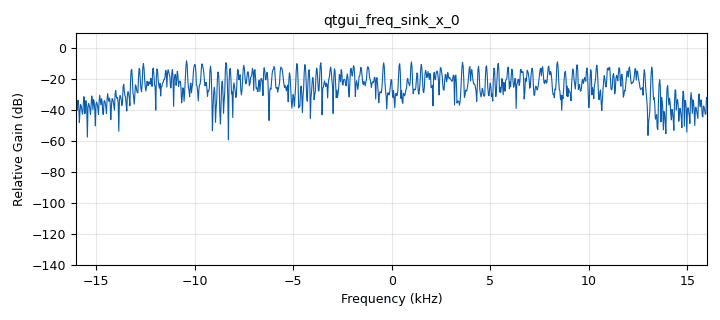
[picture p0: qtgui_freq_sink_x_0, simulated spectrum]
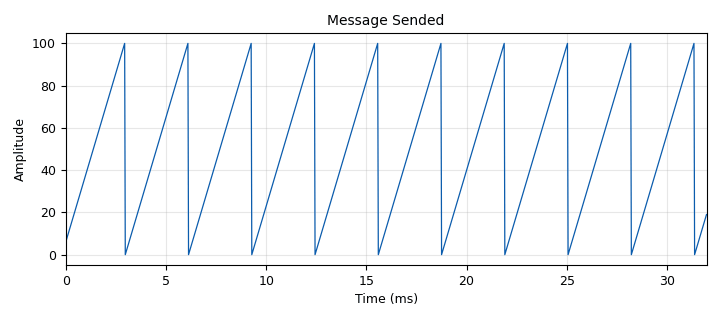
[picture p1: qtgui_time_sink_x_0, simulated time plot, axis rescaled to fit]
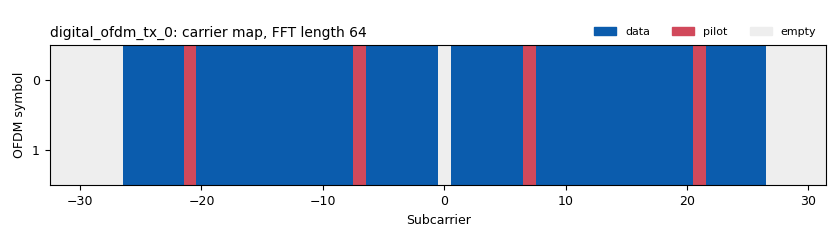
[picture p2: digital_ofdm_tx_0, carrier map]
<?xml version='1.0' encoding='utf-8'?>
<?grc format='1' created='3.7.10'?>
<flow_graph>
<block>
<key>options</key>
<param><key>id</key><value>ofdm_files_tx</value></param>
<param><key>author</key><value>Samuel Rey</value></param>
<param><key>category</key><value>Custom</value></param>
<param><key>description</key><value>Simple file transmisor using OFDM</value></param>
<param><key>generate_options</key><value>qt_gui</value></param>
<param><key>title</key><value>Files Transmisor With OFDM</value></param>
</block>
<block>
<key>variable</key>
<param><key>id</key><value>bw</value></param>
<param><key>value</key><value>samp_rate</value></param>
</block>
<block>
<key>variable</key>
<param><key>id</key><value>fft_len</value></param>
<param><key>value</key><value>64</value></param>
</block>
<block>
<key>variable_qtgui_range</key>
<param><key>id</key><value>freq</value></param>
<param><key>value</key><value>2412000</value></param>
<param><key>label</key><value>Frequency</value></param>
<param><key>orient</key><value>Qt.Horizontal</value></param>
<param><key>start</key><value>2412000</value></param>
<param><key>step</key><value>5000</value></param>
<param><key>stop</key><value>2472000</value></param>
</block>
<block>
<key>variable_qtgui_range</key>
<param><key>id</key><value>gain</value></param>
<param><key>value</key><value>30</value></param>
<param><key>label</key><value>Gain</value></param>
<param><key>orient</key><value>Qt.Horizontal</value></param>
<param><key>start</key><value>0</value></param>
<param><key>step</key><value>1</value></param>
<param><key>stop</key><value>100</value></param>
</block>
<block>
<key>variable</key>
<param><key>id</key><value>len_tag_key</value></param>
<param><key>value</key><value>"packet_len"</value></param>
</block>
<block>
<key>variable</key>
<param><key>id</key><value>occupied_carriers</value></param>
<param><key>value</key><value>(range(-26, -21) + range(-20, -7) + range(-6, 0) + range(1, 7) + range(8, 21) + range(22, 27),)</value></param>
</block>
<block>
<key>variable</key>
<param><key>id</key><value>packet_len</value></param>
<param><key>value</key><value>100</value></param>
</block>
<block>
<key>variable</key>
<param><key>id</key><value>pilot_carriers</value></param>
<param><key>value</key><value>((-21, -7, 7, 21,),)</value></param>
</block>
<block>
<key>variable</key>
<param><key>id</key><value>pilot_symbols</value></param>
<param><key>value</key><value>((1, 1, 1, -1,),)</value></param>
</block>
<block>
<key>variable</key>
<param><key>id</key><value>samp_rate</value></param>
<param><key>value</key><value>32000</value></param>
</block>
<block>
<key>variable</key>
<param><key>id</key><value>sync_word1</value></param>
<param><key>value</key><value>[0., 0., 0., 0., 0., 0., 0., 1.41421356, 0., -1.41421356, 0., 1.41421356, 0., -1.41421356, 0., -1.41421356, 0., -1.41421356, 0., 1.41421356, 0., -1.41421356, 0., 1.41421356, 0., -1.41421356, 0., -1.41421356, 0., -1.41421356, 0., -1.41421356, 0., 1.41421356, 0., -1.41421356, 0., 1.41421356, 0., 1.41421356, 0., 1.41421356, 0., -1.41421356, 0., 1.41421356, 0., 1.41421356, 0., 1.41421356, 0., -1.41421356, 0., 1.41421356, 0., 1.41421356, 0., 1.41421356, 0., 0., 0., 0., 0., 0.]</value></param>
</block>
<block>
<key>variable</key>
<param><key>id</key><value>sync_word2</value></param>
<param><key>value</key><value>[0, 0, 0, 0, 0, 0, -1, -1, -1, -1, 1, 1, -1, -1, -1, 1, -1, 1, 1, 1, 1, 1, -1, -1, -1, -1, -1, 1, -1, -1, 1, -1, 0, 1, -1, 1, 1, 1, -1, 1, 1, 1, -1, 1, 1, 1, 1, -1, 1, -1, -1, -1, 1, -1, 1, -1, -1, -1, -1, 0, 0, 0, 0, 0] </value></param>
</block>
<block>
<key>blocks_file_source</key>
<param><key>id</key><value>blocks_file_source_0</value></param>
<param><key>_enabled</key><value>0</value></param>
<param><key>file</key><value>/home/samuel/GNURadio/OFDM/prueba_tx.txt</value></param>
<param><key>type</key><value>byte</value></param>
<param><key>repeat</key><value>True</value></param>
</block>
<block>
<key>blocks_stream_to_tagged_stream</key>
<param><key>id</key><value>blocks_stream_to_tagged_stream_0</value></param>
<param><key>len_tag_key</key><value>len_tag_key</value></param>
<param><key>packet_len</key><value>packet_len</value></param>
<param><key>type</key><value>byte</value></param>
</block>
<block>
<key>blocks_uchar_to_float</key>
<param><key>id</key><value>blocks_uchar_to_float_0</value></param>
</block>
<block>
<key>blocks_vector_source_x</key>
<param><key>id</key><value>blocks_vector_source_x_0</value></param>
<param><key>type</key><value>byte</value></param>
<param><key>repeat</key><value>True</value></param>
<param><key>vector</key><value>range(101)</value></param>
</block>
<block>
<key>digital_ofdm_tx</key>
<param><key>id</key><value>digital_ofdm_tx_0</value></param>
<param><key>cp_len</key><value>fft_len/4</value></param>
<param><key>fft_len</key><value>fft_len</value></param>
<param><key>header_mod</key><value>"BPSK"</value></param>
<param><key>packet_len_key</key><value>len_tag_key</value></param>
<param><key>occupied_carriers</key><value>occupied_carriers</value></param>
<param><key>payload_mod</key><value>"BPSK"</value></param>
<param><key>pilot_carriers</key><value>pilot_carriers</value></param>
<param><key>pilot_symbols</key><value>pilot_symbols</value></param>
<param><key>rolloff</key><value>0</value></param>
<param><key>sync_word1</key><value>sync_word1</value></param>
<param><key>sync_word2</key><value>sync_word2</value></param>
</block>
<block>
<key>qtgui_freq_sink_x</key>
<param><key>id</key><value>qtgui_freq_sink_x_0</value></param>
<param><key>bw</key><value>samp_rate</value></param>
<param><key>fc</key><value>0</value></param>
<param><key>fftsize</key><value>1024</value></param>
<param><key>showports</key><value>True</value></param>
<param><key>type</key><value>complex</value></param>
<param><key>wintype</key><value>firdes.WIN_BLACKMAN_hARRIS</value></param>
</block>
<block>
<key>qtgui_time_sink_x</key>
<param><key>id</key><value>qtgui_time_sink_x_0</value></param>
<param><key>color1</key><value>"blue"</value></param>
<param><key>label1</key><value></value></param>
<param><key>name</key><value>"Message Sended"</value></param>
<param><key>size</key><value>1024</value></param>
<param><key>srate</key><value>samp_rate</value></param>
<param><key>type</key><value>float</value></param>
</block>
<block>
<key>uhd_usrp_sink</key>
<param><key>id</key><value>uhd_usrp_sink_0</value></param>
<param><key>ant0</key><value>"TX/RX"</value></param>
<param><key>bw0</key><value>bw</value></param>
<param><key>center_freq0</key><value>freq</value></param>
<param><key>norm_gain0</key><value>False</value></param>
<param><key>gain0</key><value>gain</value></param>
<param><key>clock_rate</key><value>0.0</value></param>
<param><key>dev_args</key><value>""</value></param>
<param><key>type</key><value>fc32</value></param>
<param><key>samp_rate</key><value>samp_rate</value></param>
<param><key>hide_cmd_port</key><value>False</value></param>
<param><key>hide_lo_controls</key><value>True</value></param>
<param><key>sync</key><value></value></param>
<param><key>len_tag_name</key><value></value></param>
</block>
<connection><source_block_id>blocks_file_source_0</source_block_id><sink_block_id>blocks_stream_to_tagged_stream_0</sink_block_id><source_key>0</source_key><sink_key>0</sink_key></connection>
<connection><source_block_id>blocks_stream_to_tagged_stream_0</source_block_id><sink_block_id>blocks_uchar_to_float_0</sink_block_id><source_key>0</source_key><sink_key>0</sink_key></connection>
<connection><source_block_id>blocks_stream_to_tagged_stream_0</source_block_id><sink_block_id>digital_ofdm_tx_0</sink_block_id><source_key>0</source_key><sink_key>0</sink_key></connection>
<connection><source_block_id>blocks_uchar_to_float_0</source_block_id><sink_block_id>qtgui_time_sink_x_0</sink_block_id><source_key>0</source_key><sink_key>0</sink_key></connection>
<connection><source_block_id>blocks_vector_source_x_0</source_block_id><sink_block_id>blocks_stream_to_tagged_stream_0</sink_block_id><source_key>0</source_key><sink_key>0</sink_key></connection>
<connection><source_block_id>digital_ofdm_tx_0</source_block_id><sink_block_id>qtgui_freq_sink_x_0</sink_block_id><source_key>0</source_key><sink_key>0</sink_key></connection>
<connection><source_block_id>digital_ofdm_tx_0</source_block_id><sink_block_id>uhd_usrp_sink_0</sink_block_id><source_key>0</source_key><sink_key>0</sink_key></connection>
</flow_graph>
